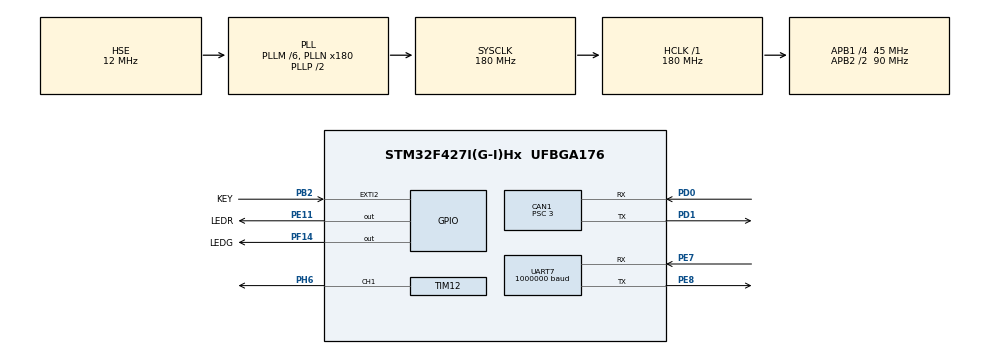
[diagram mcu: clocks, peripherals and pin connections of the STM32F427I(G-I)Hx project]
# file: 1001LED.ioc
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CAN1.BS1=CAN_BS1_10TQ
CAN1.BS2=CAN_BS2_4TQ
CAN1.CalculateBaudRate=1000000
CAN1.CalculateTimeBit=1000
CAN1.CalculateTimeQuantum=66.66666666666666
CAN1.Prescaler=3
Dma.Request0=UART7_RX
Dma.Request1=UART7_TX
Dma.UART7_RX.0.Direction=DMA_PERIPH_TO_MEMORY
Dma.UART7_RX.0.FIFOMode=DMA_FIFOMODE_DISABLE
Dma.UART7_RX.0.Instance=DMA1_Stream3
Dma.UART7_RX.0.MemDataAlignment=DMA_MDATAALIGN_BYTE
Dma.UART7_RX.0.MemInc=DMA_MINC_ENABLE
Dma.UART7_RX.0.Mode=DMA_NORMAL
Dma.UART7_RX.0.PeriphDataAlignment=DMA_PDATAALIGN_BYTE
Dma.UART7_RX.0.PeriphInc=DMA_PINC_DISABLE
Dma.UART7_RX.0.Priority=DMA_PRIORITY_LOW
Dma.UART7_TX.1.Direction=DMA_MEMORY_TO_PERIPH
Dma.UART7_TX.1.FIFOMode=DMA_FIFOMODE_DISABLE
Dma.UART7_TX.1.Instance=DMA1_Stream1
Dma.UART7_TX.1.MemDataAlignment=DMA_MDATAALIGN_BYTE
Dma.UART7_TX.1.MemInc=DMA_MINC_ENABLE
Dma.UART7_TX.1.Mode=DMA_NORMAL
Dma.UART7_TX.1.PeriphDataAlignment=DMA_PDATAALIGN_BYTE
Dma.UART7_TX.1.PeriphInc=DMA_PINC_DISABLE
Dma.UART7_TX.1.Priority=DMA_PRIORITY_LOW
Mcu.Family=STM32F4
Mcu.Name=STM32F427I(G-I)Hx
Mcu.Package=UFBGA176
NVIC.CAN1_RX0_IRQn=true\:0\:0\:false\:false\:true\:true\:true\:true
NVIC.DMA1_Stream1_IRQn=true\:0\:0\:false\:false\:true\:false\:true\:true
NVIC.DMA1_Stream3_IRQn=true\:0\:0\:false\:false\:true\:false\:true\:true
NVIC.EXTI2_IRQn=true\:2\:0\:true\:false\:true\:true\:true\:true
NVIC.PriorityGroup=NVIC_PRIORITYGROUP_4
NVIC.TIM6_DAC_IRQn=true\:0\:0\:false\:false\:true\:true\:true\:true
NVIC.UART7_IRQn=true\:0\:0\:false\:false\:true\:true\:true\:true
PA13.Mode=Serial_Wire
PA13.Signal=SYS_JTMS-SWDIO
PA14.Mode=Serial_Wire
PA14.Signal=SYS_JTCK-SWCLK
PB2/BOOT1.GPIO_Label=KEY
PB2/BOOT1.GPIO_PuPd=GPIO_PULLDOWN
PB2/BOOT1.Signal=GPXTI2
PD0.Mode=CAN_Activate
PD0.Signal=CAN1_RX
PD1.Mode=CAN_Activate
PD1.Signal=CAN1_TX
PE11.GPIO_Label=LEDR
PE11.GPIO_PuPd=GPIO_PULLUP
PE11.Signal=GPIO_Output
PE7.Mode=Asynchronous
PE7.Signal=UART7_RX
PE8.Mode=Asynchronous
PE8.Signal=UART7_TX
PF14.GPIO_Label=LEDG
PF14.Signal=GPIO_Output
PH0/OSC_IN.Mode=HSE-External-Oscillator
PH0/OSC_IN.Signal=RCC_OSC_IN
PH1/OSC_OUT.Mode=HSE-External-Oscillator
PH1/OSC_OUT.Signal=RCC_OSC_OUT
PH6.Signal=S_TIM12_CH1
ProjectManager.HeapSize=0x200
ProjectManager.StackSize=0x400
ProjectManager.TargetToolchain=MDK-ARM V5.32
RCC.48MHZClocksFreq_Value=90000000
RCC.AHBFreq_Value=180000000
RCC.APB1CLKDivider=RCC_HCLK_DIV4
RCC.APB1Freq_Value=45000000
RCC.APB1TimFreq_Value=90000000
RCC.APB2CLKDivider=RCC_HCLK_DIV2
RCC.APB2Freq_Value=90000000
RCC.APB2TimFreq_Value=180000000
RCC.CortexFreq_Value=180000000
RCC.HCLKFreq_Value=180000000
RCC.HSE_VALUE=12000000
RCC.HSI_VALUE=16000000
RCC.LSE_VALUE=32768
RCC.PLLM=6
RCC.PLLN=180
RCC.PLLSourceVirtual=RCC_PLLSOURCE_HSE
RCC.SYSCLKFreq_VALUE=180000000
RCC.SYSCLKSource=RCC_SYSCLKSOURCE_PLLCLK
RCC.VCOOutputFreq_Value=360000000
SH.S_TIM12_CH1.0=TIM12_CH1,PWM Generation1 CH1
TIM1.Period=1000-1
TIM1.Prescaler=180-1
TIM12.Channel-PWM\ Generation1\ CH1=TIM_CHANNEL_1
TIM12.OCMode_PWM-PWM\ Generation1\ CH1=TIM_OCMODE_PWM2
TIM12.Period=1000-1
TIM12.Prescaler=90-1
TIM12.Pulse-PWM\ Generation1\ CH1=100
TIM6.Prescaler=90-1
UART7.BaudRate=1000000
UART7.Parity=PARITY_EVEN
UART7.VirtualMode=Asynchronous
UART7.WordLength=WORDLENGTH_9B
VP_TIM1_VS_ClockSourceINT.Mode=Internal
VP_TIM6_VS_ClockSourceINT.Mode=Enable_Timer
board=custom

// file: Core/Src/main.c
/* USER CODE BEGIN Header */
/**
  ******************************************************************************
  * @file           : main.c
  * @brief          : Main program body
  ******************************************************************************
  * @attention
  *
  * Copyright (c) 2025 STMicroelectronics.
  * All rights reserved.
  *
  * This software is licensed under terms that can be found in the LICENSE file
  * in the root directory of this software component.
  * If no LICENSE file comes with this software, it is provided AS-IS.
  *
  ******************************************************************************
  */
/* USER CODE END Header */
#include "main.h"
#include "can.h"
#include "dma.h"
#include "tim.h"
#include "usart.h"
#include "gpio.h"

/* USER CODE BEGIN Includes */
#include <math.h>
/* USER CODE END Includes */

/* USER CODE BEGIN PV */
int stop_flag = 1;
uint32_t ticks;
uint32_t prev_ticks;
uint8_t flag = 0;
uint8_t rx_msg[32];
uint8_t tx_msg[32];

CAN_RxHeaderTypeDef rx_header;
CAN_TxHeaderTypeDef tx_header = {
    .StdId = 0x200,
    .ExtId = 0,
    .IDE = CAN_ID_STD,
    .RTR = CAN_RTR_DATA,
    .DLC = 8,
    .TransmitGlobalTime = DISABLE
};
uint8_t rx_data[8];
uint8_t tx_data[8] = { 0x00, 0xC0, 0x00, 0x00, 0x00, 0x00, 0x00, 0x00 };
uint8_t stop_data[8] = { 0x00, 0x00, 0x00, 0x00, 0x00, 0x00, 0x00, 0x00 };

CAN_FilterTypeDef filter_config = {
    .FilterIdHigh = 0x0000,
    .FilterIdLow = 0x0000,
    .FilterMaskIdHigh = 0x0000,
    .FilterMaskIdLow = 0x0000,
    .FilterFIFOAssignment = CAN_FILTER_FIFO0,
    .FilterBank = 0,
    .FilterMode = CAN_FILTERMODE_IDMASK,
    .FilterScale = CAN_FILTERSCALE_32BIT,
    .FilterActivation = ENABLE
};
/* USER CODE END PV */

void SystemClock_Config(void);

int main(void) {

    /* MCU Configuration--------------------------------------------------------*/

    /* Reset of all peripherals, Initializes the Flash interface and the Systick. */
    HAL_Init();

    /* Configure the system clock */
    SystemClock_Config();

    /* Initialize all configured peripherals */
    MX_GPIO_Init();
    MX_DMA_Init();
    MX_TIM1_Init();
    MX_TIM12_Init();
    MX_UART7_Init();
    MX_CAN1_Init();
    MX_TIM6_Init();
    /* USER CODE BEGIN 2 */
    HAL_UARTEx_ReceiveToIdle_DMA(&huart7, rx_msg, 32);

    HAL_CAN_ConfigFilter(&hcan1, &filter_config);
    HAL_CAN_Start(&hcan1);
    HAL_CAN_ActivateNotification(&hcan1,CAN_IT_RX_FIFO0_MSG_PENDING); //激活CAN接收中断

    HAL_TIM_Base_Start_IT(&htim6);
    /* USER CODE END 2 */

    /* Infinite loop */
    while (1) {

    }
}

void SystemClock_Config(void) {
    RCC_OscInitTypeDef RCC_OscInitStruct = { 0 };
    RCC_ClkInitTypeDef RCC_ClkInitStruct = { 0 };

    /** Configure the main internal regulator output voltage
    */
    __HAL_RCC_PWR_CLK_ENABLE();
    __HAL_PWR_VOLTAGESCALING_CONFIG(PWR_REGULATOR_VOLTAGE_SCALE1);

    /** Initializes the RCC Oscillators according to the specified parameters
    * in the RCC_OscInitTypeDef structure.
    */
    RCC_OscInitStruct.OscillatorType = RCC_OSCILLATORTYPE_HSE;
    RCC_OscInitStruct.HSEState = RCC_HSE_ON;
    RCC_OscInitStruct.PLL.PLLState = RCC_PLL_ON;
    RCC_OscInitStruct.PLL.PLLSource = RCC_PLLSOURCE_HSE;
    RCC_OscInitStruct.PLL.PLLM = 6;
    RCC_OscInitStruct.PLL.PLLN = 180;
    RCC_OscInitStruct.PLL.PLLP = RCC_PLLP_DIV2;
    RCC_OscInitStruct.PLL.PLLQ = 4;
    if (HAL_RCC_OscConfig(&RCC_OscInitStruct) != HAL_OK) {
        Error_Handler();
    }

    /** Activate the Over-Drive mode
    */
    if (HAL_PWREx_EnableOverDrive() != HAL_OK) {
        Error_Handler();
    }

    /** Initializes the CPU, AHB and APB buses clocks
    */
    RCC_ClkInitStruct.ClockType = RCC_CLOCKTYPE_HCLK | RCC_CLOCKTYPE_SYSCLK
        | RCC_CLOCKTYPE_PCLK1 | RCC_CLOCKTYPE_PCLK2;
    RCC_ClkInitStruct.SYSCLKSource = RCC_SYSCLKSOURCE_PLLCLK;
    RCC_ClkInitStruct.AHBCLKDivider = RCC_SYSCLK_DIV1;
    RCC_ClkInitStruct.APB1CLKDivider = RCC_HCLK_DIV4;
    RCC_ClkInitStruct.APB2CLKDivider = RCC_HCLK_DIV2;

    if (HAL_RCC_ClockConfig(&RCC_ClkInitStruct, FLASH_LATENCY_5) != HAL_OK) {
        Error_Handler();
    }
}

void Error_Handler(void) {
    __disable_irq();
    while (1) {}
}
